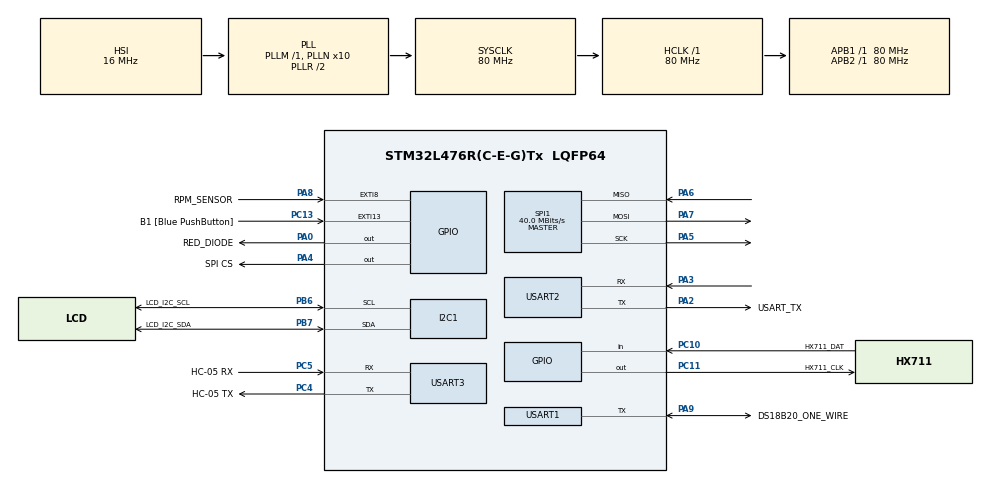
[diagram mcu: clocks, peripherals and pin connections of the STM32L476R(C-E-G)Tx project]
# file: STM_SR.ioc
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FATFS._MAX_SS=4096
FATFS._USE_LFN=1
I2C1.Timing=0x10909CEC
Mcu.Family=STM32L4
Mcu.Name=STM32L476R(C-E-G)Tx
Mcu.Package=LQFP64
NVIC.EXTI9_5_IRQn=true\:0\:0\:false\:false\:true\:true\:true
NVIC.PriorityGroup=NVIC_PRIORITYGROUP_4
NVIC.TIM1_UP_TIM16_IRQn=true\:0\:0\:false\:false\:true\:true\:true
NVIC.USART1_IRQn=true\:0\:0\:false\:false\:true\:true\:true
NVIC.USART2_IRQn=true\:0\:0\:false\:false\:true\:true\:true
PA0.GPIO_Label=RED_DIODE
PA0.GPIO_ModeDefaultOutputPP=GPIO_MODE_OUTPUT_PP
PA0.GPIO_PuPd=GPIO_PULLDOWN
PA0.Signal=GPIO_Output
PA13\ (JTMS-SWDIO).GPIO_Label=TMS
PA13\ (JTMS-SWDIO).Mode=Trace_Asynchronous_SW
PA13\ (JTMS-SWDIO).Signal=SYS_JTMS-SWDIO
PA14\ (JTCK-SWCLK).GPIO_Label=TCK
PA14\ (JTCK-SWCLK).Mode=Trace_Asynchronous_SW
PA14\ (JTCK-SWCLK).Signal=SYS_JTCK-SWCLK
PA2.GPIO_Label=USART_TX
PA2.GPIO_Mode=GPIO_MODE_AF_PP
PA2.GPIO_PuPd=GPIO_NOPULL
PA2.GPIO_Speed=GPIO_SPEED_FREQ_VERY_HIGH
PA2.Mode=Asynchronous
PA2.Signal=USART2_TX
PA3.Mode=Asynchronous
PA3.Signal=USART2_RX
PA4.GPIO_Label=SPI CS
PA4.Signal=GPIO_Output
PA5.Mode=Full_Duplex_Master
PA5.Signal=SPI1_SCK
PA6.Mode=Full_Duplex_Master
PA6.Signal=SPI1_MISO
PA7.Mode=Full_Duplex_Master
PA7.Signal=SPI1_MOSI
PA8.GPIO_Label=RPM_SENSOR
PA8.GPIO_ModeDefaultEXTI=GPIO_MODE_IT_FALLING
PA8.Signal=GPXTI8
PA9.GPIO_Label=DS18B20_ONE_WIRE
PA9.Mode=Half_duplex(single_wire_mode)
PA9.Signal=USART1_TX
PB3\ (JTDO-TRACESWO).GPIO_Label=SWO
PB3\ (JTDO-TRACESWO).Mode=Trace_Asynchronous_SW
PB3\ (JTDO-TRACESWO).Signal=SYS_JTDO-SWO
PB6.GPIO_Label=LCD_I2C_SCL
PB6.Mode=I2C
PB6.Signal=I2C1_SCL
PB7.GPIO_Label=LCD_I2C_SDA
PB7.Mode=I2C
PB7.Signal=I2C1_SDA
PC10.GPIO_Label=HX711_DAT
PC10.Signal=GPIO_Input
PC11.GPIO_Label=HX711_CLK
PC11.Signal=GPIO_Output
PC13.GPIO_Label=B1 [Blue PushButton]
PC13.GPIO_ModeDefaultEXTI=GPIO_MODE_IT_FALLING
PC13.GPIO_PuPd=GPIO_NOPULL
PC13.Signal=GPXTI13
PC14-OSC32_IN\ (PC14).Mode=LSE-External-Oscillator
PC14-OSC32_IN\ (PC14).Signal=RCC_OSC32_IN
PC15-OSC32_OUT\ (PC15).Mode=LSE-External-Oscillator
PC15-OSC32_OUT\ (PC15).Signal=RCC_OSC32_OUT
PC4.GPIO_Label=HC-05 TX
PC4.Mode=Asynchronous
PC4.Signal=USART3_TX
PC5.GPIO_Label=HC-05 RX
PC5.Mode=Asynchronous
PC5.Signal=USART3_RX
PH0-OSC_IN\ (PH0).Signal=RCC_OSC_IN
PH1-OSC_OUT\ (PH1).Signal=RCC_OSC_OUT
ProjectManager.HeapSize=0x200
ProjectManager.StackSize=0x400
ProjectManager.TargetToolchain=STM32CubeIDE
RCC.ADCFreq_Value=64000000
RCC.AHBFreq_Value=80000000
RCC.APB1Freq_Value=80000000
RCC.APB1TimFreq_Value=80000000
RCC.APB2Freq_Value=80000000
RCC.APB2TimFreq_Value=80000000
RCC.CortexFreq_Value=80000000
RCC.HCLKFreq_Value=80000000
RCC.HSE_VALUE=8000000
RCC.HSI_VALUE=16000000
RCC.MSI_VALUE=4000000
RCC.PLLN=10
RCC.PLLSourceVirtual=RCC_PLLSOURCE_HSI
RCC.PREFETCH_ENABLE=1
RCC.SYSCLKFreq_VALUE=80000000
RCC.SYSCLKSource=RCC_SYSCLKSOURCE_PLLCLK
RCC.USBFreq_Value=64000000
RCC.VCOOutputFreq_Value=160000000
SPI1.CalculateBaudRate=40.0 MBits/s
SPI1.DataSize=SPI_DATASIZE_8BIT
SPI1.Direction=SPI_DIRECTION_2LINES
SPI1.Mode=SPI_MODE_MASTER
SPI1.VirtualType=VM_MASTER
TIM16.Period=65535
TIM16.Prescaler=7999
USART1.VirtualMode-Half_duplex(single_wire_mode)=VM_ASYNC
USART2.VirtualMode-Asynchronous=VM_ASYNC
USART3.VirtualMode-Asynchronous=VM_ASYNC
VP_FATFS_VS_Generic.Mode=User_defined
VP_RTC_VS_RTC_Activate.Mode=RTC_Enabled
VP_TIM16_VS_ClockSourceINT.Mode=Enable_Timer
VP_TIM6_VS_ClockSourceINT.Mode=Enable_Timer
board=NUCLEO-L476RG

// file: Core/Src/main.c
/* USER CODE BEGIN Header */
/**
  ******************************************************************************
  * @file           : main.c
  * @brief          : Main program body
  ******************************************************************************
  * @attention
  *
  * <h2><center>&copy; Copyright (c) 2023 STMicroelectronics.
  * All rights reserved.</center></h2>
  *
  * This software component is licensed by ST under BSD 3-Clause license,
  * the "License"; You may not use this file except in compliance with the
  * License. You may obtain a copy of the License at:
  *                        opensource.org/licenses/BSD-3-Clause
  *
  ******************************************************************************
  */
/* USER CODE END Header */
#include "main.h"
#include "fatfs.h"
#include "i2c.h"
#include "rtc.h"
#include "spi.h"
#include "tim.h"
#include "usart.h"
#include "gpio.h"

/* USER CODE BEGIN Includes */
#include "stdio.h"
#include "hx711.h"
/* USER CODE END Includes */

/* USER CODE BEGIN PV */
volatile uint32_t lastCapture = 0;
volatile uint32_t capturedBuffer[2] = {0};
volatile uint8_t bufferIndex = 0;
volatile uint32_t compensation = 0;
/* USER CODE END PV */

void SystemClock_Config(void);
/* USER CODE BEGIN PFP */
uint32_t measure_RPM(); // if data from sensor is available return RPM value
/* USER CODE END PFP */

/* USER CODE BEGIN 0 */
// for debugging purposes
int _write(int file, char *ptr, int len)
{
	for(int i = 0; i < len; i++)
	{
		ITM_SendChar(*ptr++);
	}
	return len;
}

void HAL_GPIO_EXTI_Callback(uint16_t GPIO_Pin)
{
  if (GPIO_Pin == RPM_SENSOR_Pin)
  {
	  uint32_t now = TIM16->CNT; // Get current timer count + compensation
	  uint32_t tmp_compensation = compensation;
	  compensation = 0; // zero compensation value
	  uint32_t delta = now + tmp_compensation - lastCapture; // Calculate time difference
	  lastCapture = now;
	  capturedBuffer[bufferIndex] = delta; // Store time difference in buffer
	  bufferIndex = (bufferIndex + 1) % 2; // Wrap buffer index
  }
}

void HAL_TIM_PeriodElapsedCallback(TIM_HandleTypeDef *htim)
{
	if (htim == &htim16)
	{
		compensation += 0xFFFF; // compensate for timer overflow
	}
}
/* USER CODE END 0 */

int main(void)
{

  /* MCU Configuration--------------------------------------------------------*/

  /* Reset of all peripherals, Initializes the Flash interface and the Systick. */
  HAL_Init();

  /* Configure the system clock */
  SystemClock_Config();

  /* Initialize all configured peripherals */
  MX_GPIO_Init();
  MX_USART2_UART_Init();
  MX_I2C1_Init();
  MX_SPI1_Init();
  MX_USART1_UART_Init();
  MX_USART3_UART_Init();
  MX_FATFS_Init();
  MX_RTC_Init();
  MX_TIM6_Init();
  MX_TIM16_Init();
  /* USER CODE BEGIN 2 */
  hx711_t loadcell = {0};
  uint32_t rpm;
  float weight;
  hx711_init(&loadcell, HX711_CLK_GPIO_Port, HX711_CLK_Pin, HX711_DAT_GPIO_Port, HX711_DAT_Pin);
  //hx711_coef_set(&loadcell, 354.5); // read after calibration
  //hx711_tare(&loadcell, 10);
  loadcell.coef = 1;
  loadcell.offset = 0;
  HAL_TIM_Base_Start_IT(&htim16);
  HAL_GPIO_WritePin(RED_DIODE_GPIO_Port, RED_DIODE_Pin, GPIO_PIN_RESET);
  /* USER CODE END 2 */

  /* Infinite loop */
  /* USER CODE BEGIN WHILE */
  while (1)
  {
	  /*if(HAL_GPIO_ReadPin(RPM_SENSOR_GPIO_Port, RPM_SENSOR_Pin) == GPIO_PIN_RESET)
		  HAL_GPIO_WritePin(RED_DIODE_GPIO_Port, RED_DIODE_Pin, GPIO_PIN_SET);
	  else
		  HAL_GPIO_WritePin(RED_DIODE_GPIO_Port, RED_DIODE_Pin, GPIO_PIN_RESET);*/
	  rpm = measure_RPM();
	  if(rpm > 0) printf("RPM value: %lu\n", rpm);
	  weight = hx711_weight(&loadcell, 1);
	  printf("Weight value : %f\n", weight);
	  //HAL_Delay(500);

    /* USER CODE END WHILE */

  }
}

void SystemClock_Config(void)
{
  RCC_OscInitTypeDef RCC_OscInitStruct = {0};
  RCC_ClkInitTypeDef RCC_ClkInitStruct = {0};
  RCC_PeriphCLKInitTypeDef PeriphClkInit = {0};

  /** Initializes the RCC Oscillators according to the specified parameters
  * in the RCC_OscInitTypeDef structure.
  */
  RCC_OscInitStruct.OscillatorType = RCC_OSCILLATORTYPE_HSI|RCC_OSCILLATORTYPE_LSI;
  RCC_OscInitStruct.HSIState = RCC_HSI_ON;
  RCC_OscInitStruct.HSICalibrationValue = RCC_HSICALIBRATION_DEFAULT;
  RCC_OscInitStruct.LSIState = RCC_LSI_ON;
  RCC_OscInitStruct.PLL.PLLState = RCC_PLL_ON;
  RCC_OscInitStruct.PLL.PLLSource = RCC_PLLSOURCE_HSI;
  RCC_OscInitStruct.PLL.PLLM = 1;
  RCC_OscInitStruct.PLL.PLLN = 10;
  RCC_OscInitStruct.PLL.PLLP = RCC_PLLP_DIV7;
  RCC_OscInitStruct.PLL.PLLQ = RCC_PLLQ_DIV2;
  RCC_OscInitStruct.PLL.PLLR = RCC_PLLR_DIV2;
  if (HAL_RCC_OscConfig(&RCC_OscInitStruct) != HAL_OK)
  {
    Error_Handler();
  }
  /** Initializes the CPU, AHB and APB buses clocks
  */
  RCC_ClkInitStruct.ClockType = RCC_CLOCKTYPE_HCLK|RCC_CLOCKTYPE_SYSCLK
                              |RCC_CLOCKTYPE_PCLK1|RCC_CLOCKTYPE_PCLK2;
  RCC_ClkInitStruct.SYSCLKSource = RCC_SYSCLKSOURCE_PLLCLK;
  RCC_ClkInitStruct.AHBCLKDivider = RCC_SYSCLK_DIV1;
  RCC_ClkInitStruct.APB1CLKDivider = RCC_HCLK_DIV1;
  RCC_ClkInitStruct.APB2CLKDivider = RCC_HCLK_DIV1;

  if (HAL_RCC_ClockConfig(&RCC_ClkInitStruct, FLASH_LATENCY_4) != HAL_OK)
  {
    Error_Handler();
  }
  PeriphClkInit.PeriphClockSelection = RCC_PERIPHCLK_RTC|RCC_PERIPHCLK_USART1
                              |RCC_PERIPHCLK_USART2|RCC_PERIPHCLK_USART3
                              |RCC_PERIPHCLK_I2C1;
  PeriphClkInit.Usart1ClockSelection = RCC_USART1CLKSOURCE_PCLK2;
  PeriphClkInit.Usart2ClockSelection = RCC_USART2CLKSOURCE_PCLK1;
  PeriphClkInit.Usart3ClockSelection = RCC_USART3CLKSOURCE_PCLK1;
  PeriphClkInit.I2c1ClockSelection = RCC_I2C1CLKSOURCE_PCLK1;
  PeriphClkInit.RTCClockSelection = RCC_RTCCLKSOURCE_LSI;
  if (HAL_RCCEx_PeriphCLKConfig(&PeriphClkInit) != HAL_OK)
  {
    Error_Handler();
  }
  /** Configure the main internal regulator output voltage
  */
  if (HAL_PWREx_ControlVoltageScaling(PWR_REGULATOR_VOLTAGE_SCALE1) != HAL_OK)
  {
    Error_Handler();
  }
}

/* USER CODE BEGIN 4 */
uint32_t measure_RPM(){
	uint32_t delta1 = capturedBuffer[0];
	uint32_t delta2 = capturedBuffer[1];
	if (delta1 > 0 && delta2 > 0) {
		uint32_t delta = delta1 + delta2;
		float frequency = 1.0f / (delta / 2.0f / 10000.0f ); // Calculate frequency in Hz
		uint32_t rpm = frequency * 60.0f; // Calculate RPM
		capturedBuffer[0] = 0;
		capturedBuffer[1] = 0;
		return rpm;
	}
	else return 0;
}
/* USER CODE END 4 */

void Error_Handler(void)
{
}

/************************ (C) COPYRIGHT STMicroelectronics *****END OF FILE****/
